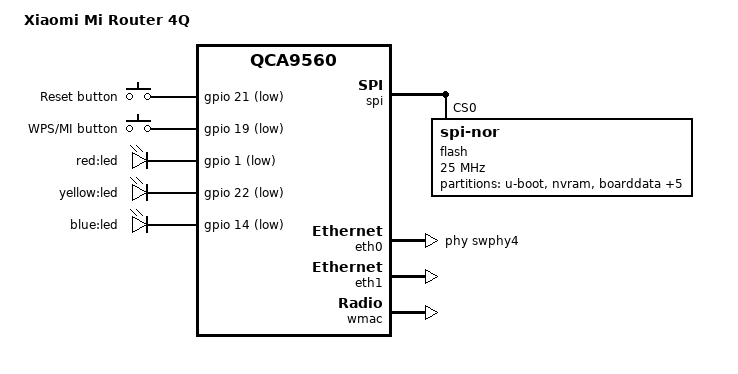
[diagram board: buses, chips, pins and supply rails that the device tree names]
// SPDX-License-Identifier: GPL-2.0-or-later OR MIT

#include "qca956x.dtsi"

#include <dt-bindings/gpio/gpio.h>
#include <dt-bindings/input/input.h>

/ {
	compatible = "xiaomi,mi-router-4q", "qca,qca9560";
	model = "Xiaomi Mi Router 4Q";

	aliases {
		led-boot = &led_yellow;
		led-failsafe = &led_red;
		led-running = &led_blue;
		led-upgrade = &led_red;
	};

	keys {
		compatible = "gpio-keys";

		reset {
			label = "Reset button";
			linux,code = <KEY_RESTART>;
			gpios = <&gpio 21 GPIO_ACTIVE_LOW>;
		};

		wps {
			label = "WPS/MI button";
			linux,code = <KEY_WPS_BUTTON>;
			gpios = <&gpio 19 GPIO_ACTIVE_LOW>;
		};
	};

	leds {
		compatible = "gpio-leds";

		led_red: led_red {
			label = "red:led";
			gpios = <&gpio 1 GPIO_ACTIVE_LOW>;
		};

		led_yellow: led_yellow {
			label = "yellow:led";
			gpios = <&gpio 22 GPIO_ACTIVE_LOW>;
		};

		led_blue: led_blue {
			label = "blue:led";
			gpios = <&gpio 14 GPIO_ACTIVE_LOW>;
		};
	};
};

&spi {
	status = "okay";

	flash@0 {
		compatible = "jedec,spi-nor";
		reg = <0>;
		spi-max-frequency = <25000000>;

		partitions {
			compatible = "fixed-partitions";
			#address-cells = <1>;
			#size-cells = <1>;

			partition@0 {
				label = "u-boot";
				reg = <0x000000 0x30000>;
				read-only;
			};

			partition@30000 {
				label = "nvram";
				reg = <0x030000 0x10000>;
				read-only;
			};

			partition@40000 {
				label = "boarddata";
				reg = <0x40000 0x10000>;
				read-only;
			};

			partition@50000 {
				label = "crash";
				reg = <0x50000 0x10000>;
				read-only;
			};

			art: partition@60000 {
				label = "art";
				reg = <0x60000 0x10000>;
				read-only;
			};

			partition@70000 {
				label = "cfg_bak";
				reg = <0x70000 0x20000>;
				read-only;
			};

			partition@90000 {
				label = "overlay";
				reg = <0x90000 0x170000>;
				read-only;
			};

			partition@200000 {
				compatible = "denx,uimage";
				label = "firmware";
				reg = <0x200000 0xe00000>;
			};
		};
	};
};

&eth0 {
	status = "okay";

	phy-handle = <&swphy4>;
	nvmem-cells = <&macaddr_art_0>;
	nvmem-cell-names = "mac-address";
};

&eth1 {
	status = "okay";

	nvmem-cells = <&macaddr_art_6>;
	nvmem-cell-names = "mac-address";
};

&wmac {
	status = "okay";

	mtd-cal-data = <&art 0x1000>;
	nvmem-cells = <&macaddr_art_0>;
	nvmem-cell-names = "mac-address";
	mac-address-increment = <1>;
};

&art {
	compatible = "nvmem-cells";
	#address-cells = <1>;
	#size-cells = <1>;

	macaddr_art_0: macaddr@0 {
		reg = <0x0 0x6>;
	};

	macaddr_art_6: macaddr@6 {
		reg = <0x6 0x6>;
	};
};
